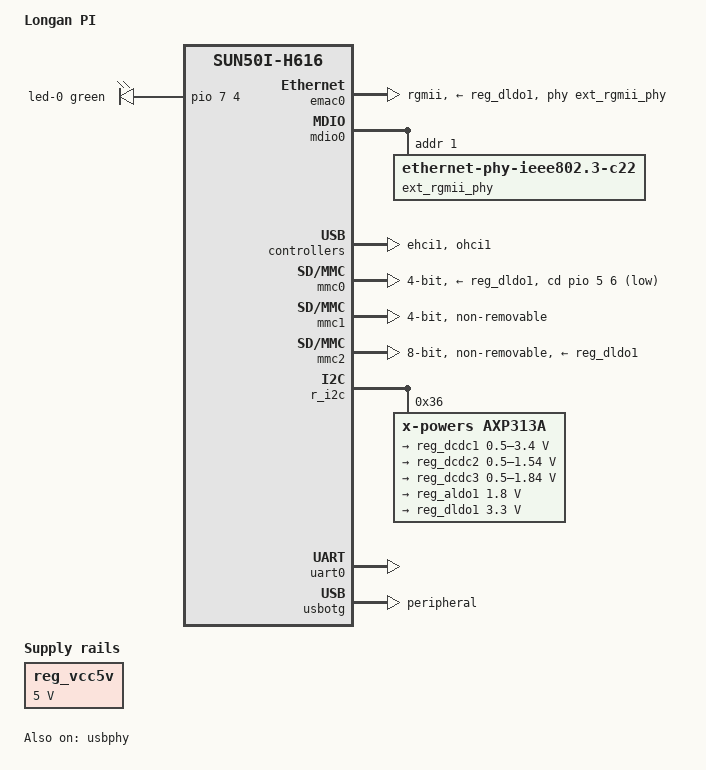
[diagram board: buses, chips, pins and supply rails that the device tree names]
// SPDX-License-Identifier: (GPL-2.0+ or MIT)
/*
 * Copyright (C) 2023 CWEIB <wb.chen@lonagn.link>.
 */

/dts-v1/;

#include "sun50i-h616.dtsi"

#include <dt-bindings/gpio/gpio.h>
#include <dt-bindings/interrupt-controller/arm-gic.h>
#include <dt-bindings/leds/common.h>

/ {
	model = "Longan PI";
	compatible = "longan,longanpi", "allwinner,sun50i-h616";

	aliases {
		ethernet0 = &emac0;
		serial0 = &uart0;
	};

	chosen {
		stdout-path = "serial0:115200n8";
	};

	leds {
		compatible = "gpio-leds";

		led-0 {
			function = LED_FUNCTION_STATUS;
			color = <LED_COLOR_ID_GREEN>;
			gpios = <&pio 7 4 GPIO_ACTIVE_HIGH>; /* PH4 */
		};
	};

	reg_vcc5v: vcc5v {
		/* board wide 5V supply directly from the USB-C socket */
		compatible = "regulator-fixed";
		regulator-name = "vcc-5v";
		regulator-min-microvolt = <5000000>;
		regulator-max-microvolt = <5000000>;
		regulator-always-on;
	};
};

&emac0 {
	pinctrl-names = "default";
	pinctrl-0 = <&ext_rgmii_pins>;
	phy-mode = "rgmii";
	phy-handle = <&ext_rgmii_phy>;
	phy-supply = <&reg_dldo1>;
	allwinner,rx-delay-ps = <3100>;
	allwinner,tx-delay-ps = <700>;
	status = "okay";
};

&mdio0 {
	ext_rgmii_phy: ethernet-phy@1 {
		compatible = "ethernet-phy-ieee802.3-c22";
		reg = <1>;
	};
};

&ehci1 {
	status = "okay";
};

&ohci1 {
	status = "okay";
};

&mmc0 {
	vmmc-supply = <&reg_dldo1>;
	cd-gpios = <&pio 5 6 GPIO_ACTIVE_LOW>;	/* PF6 */
	bus-width = <4>;
	status = "okay";
};

&mmc1 {
	bus-width = <4>;
	max-frequency = <25000000>;
	non-removable;
	mmc-ddr-1_8v;
	status = "okay";
};

&mmc2 {
	vmmc-supply = <&reg_dldo1>;
	vqmmc-supply = <&reg_aldo1>;
	cap-mmc-hw-reset;
	non-removable;
	bus-width = <8>;
	status = "okay";
};

&r_i2c {
	status = "okay";

	axp313a: pmic@36 {
		compatible = "x-powers,axp313a";
		status = "okay";
		reg = <0x36>;
		wakeup-source;

		standby_param: standby_param {
			vcc-dram = <0x4>;
		};

		regulators{
			reg_dcdc1: dcdc1 {
				regulator-name = "axp313a-dcdc1";
				regulator-min-microvolt = <500000>;
				regulator-max-microvolt = <3400000>;
				regulator-step-delay-us = <25>;
				regulator-final-delay-us = <50>;
				regulator-always-on;
			};

			reg_dcdc2: dcdc2 {
				regulator-name = "axp313a-dcdc2";
				regulator-min-microvolt = <500000>;
				regulator-max-microvolt = <1540000>;
				regulator-step-delay-us = <25>;
				regulator-final-delay-us = <50>;
				regulator-ramp-delay = <200>;
				regulator-always-on;
			};

			reg_dcdc3: dcdc3 {
				regulator-name = "axp313a-dcdc3";
				regulator-min-microvolt = <500000>;
				regulator-max-microvolt = <1840000>;
				regulator-step-delay-us = <25>;
				regulator-final-delay-us = <50>;
				regulator-always-on;
			};

			reg_aldo1: aldo1 {
				regulator-name = "axp313a-aldo1";
				regulator-min-microvolt = <1800000>;
				regulator-max-microvolt = <1800000>;
				regulator-step-delay-us = <25>;
				regulator-final-delay-us = <50>;
				regulator-always-on;
			};

			reg_dldo1: dldo1 {
				regulator-name = "axp313a-dldo1";
				regulator-min-microvolt = <3300000>;
				regulator-max-microvolt = <3300000>;
				regulator-step-delay-us = <25>;
				regulator-final-delay-us = <50>;
				regulator-always-on;
			};
		};
	};
};

&uart0 {
	pinctrl-names = "default";
	pinctrl-0 = <&uart0_ph_pins>;
	status = "okay";
};

&usbotg {
	/*
	 * PHY0 pins are connected to a USB-C socket, but a role switch
	 * is not implemented: both CC pins are pulled to GND.
	 * The VBUS pins power the device, so a fixed peripheral mode
	 * is the best choice.
	 * The board can be powered via GPIOs, in this case port0 *can*
	 * act as a host (with a cable/adapter ignoring CC), as VBUS is
	 * then provided by the GPIOs. Any user of this setup would
	 * need to adjust the DT accordingly: dr_mode set to "host",
	 * enabling OHCI0 and EHCI0.
	 */
	dr_mode = "peripheral";
	status = "okay";
};

&usbphy {
	status = "okay";
};
